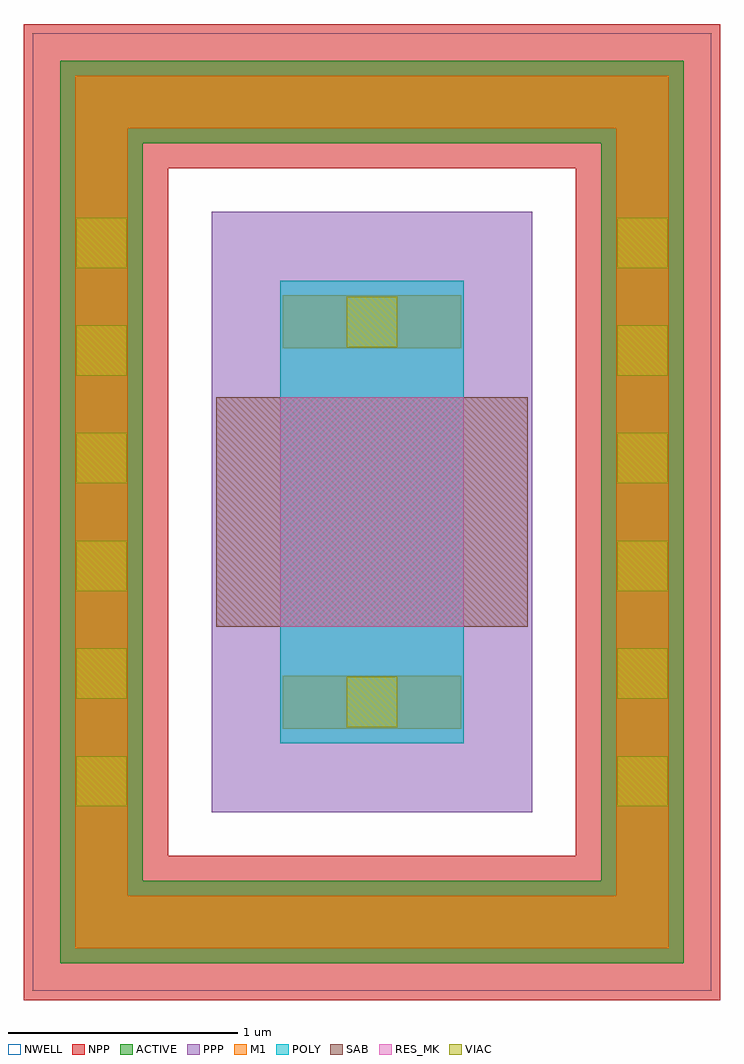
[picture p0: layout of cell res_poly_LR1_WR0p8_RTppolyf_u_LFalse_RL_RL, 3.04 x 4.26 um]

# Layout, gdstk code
import gdstk
lib = gdstk.Library(unit=1e-6, precision=1e-09)
def R(c, l, rs):  # rectangles x0, y0, x1, y1
    for r in rs: c.add(gdstk.rectangle(r[:2], r[2:], *l))
def A(c, l, x, y, w, h, nx, ny, dx, dy):  # array of equal rectangles
    R(c, l, [(x+i*dx, y+j*dy, x+i*dx+w, y+j*dy+h) for i in range(nx) for j in range(ny)])
ACTIVE = (10, 0)
POLY = (11, 0)
NWELL = (12, 0)
SAB = (13, 0)
RES_MK = (14, 0)
NPP = (24, 0)
PPP = (25, 0)
VIAC = (40, 0)
M1 = (41, 0)

res_poly_lr1_wr0p8_rtppo = lib.new_cell('res_poly_LR1_WR0p8_RTppolyf_u_LFalse_RL_RL')
R(res_poly_lr1_wr0p8_rtppo, ACTIVE, [(-1.36,-1.97,1.36,-1.61), (-1.36,-1.97,-1,1.97), (1,-1.97,1.36,1.97), (-1.36,1.61,1.36,1.97)])
R(res_poly_lr1_wr0p8_rtppo, POLY, [(-0.4,-1.01,0.4,1.01), (-0.4,-1.01,0.4,-0.65), (-0.4,0.65,0.4,1.01)])
R(res_poly_lr1_wr0p8_rtppo, NWELL, [(-1.48,-2.09,1.48,2.09)])
R(res_poly_lr1_wr0p8_rtppo, SAB, [(-0.68,-0.5,0.68,0.5)])
R(res_poly_lr1_wr0p8_rtppo, RES_MK, [(-0.4,-0.5,0.4,0.5)])
R(res_poly_lr1_wr0p8_rtppo, NPP, [(-1.52,-2.13,1.52,-1.5), (-1.52,-1.5,-0.89,1.5), (0.89,-1.5,1.52,1.5), (-1.52,1.5,1.52,2.13)])
R(res_poly_lr1_wr0p8_rtppo, PPP, [(-0.7,-1.31,0.7,1.31)])
A(res_poly_lr1_wr0p8_rtppo, VIAC, -1.29, -1.285, 0.22, 0.22, 1, 6, 0, 0.47)
A(res_poly_lr1_wr0p8_rtppo, VIAC, 1.07, -1.285, 0.22, 0.22, 1, 6, 0, 0.47)
R(res_poly_lr1_wr0p8_rtppo, VIAC, [(-0.11,-0.94,0.11,-0.72), (-0.11,0.72,0.11,0.94)])
R(res_poly_lr1_wr0p8_rtppo, M1, [(-1.295,-1.905,1.295,-1.675), (-1.295,-1.675,-1.065,1.675), (1.065,-1.675,1.295,1.675), (-0.39,-0.945,0.39,-0.715), (-0.39,0.715,0.39,0.945), (-1.295,1.675,1.295,1.905)])

lib.write_gds('res_poly_LR1_WR0p8_RTppolyf_u_LFalse_RL_RL.gds')
